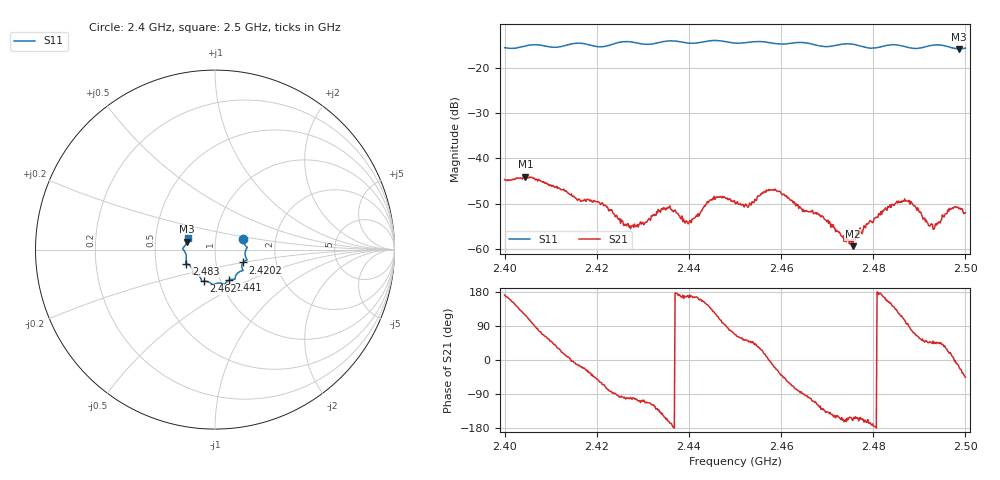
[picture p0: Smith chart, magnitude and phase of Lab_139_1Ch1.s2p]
# Hz S RI R 50
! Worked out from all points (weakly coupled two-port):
!   601 points, 2.4 GHz to 2.5 GHz, reference 50 ohm
!   highest |S21| = -44.05 dB at 2.4045 GHz (marker M1); lowest = -59.4 dB at 2.4755 GHz (marker M2)
!   lowest |S11| = -15.8 dB at 2.4987 GHz (marker M3), VSWR 1.39, Z = 36.4 + j3.26 ohm
!   |S11| at or under -10 dB: start of sweep to end of sweep
!   S12 and S22 are empty: the file has one direction only
!   S11 on the Smith chart (normalised r, x): 2.4 GHz: 1.36, +0.17; 2.4202 GHz: 1.35, -0.20; 2.441 GHz: 1.10, -0.39; 2.462 GHz: 0.83, -0.30; 2.483 GHz: 0.72, -0.12; 2.5 GHz: 0.73, +0.09
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2.4e9  0.1561 0.0603  -0.00577 0.00083  0 0  0 0
2.4045e9  0.1739 0.0174  -0.00296 0.00553  0 0  0 0
2.416667e9  0.1774 -0.0584  0.00319 -0.00112  0 0  0 0
2.420167e9  0.156 -0.0717  0.00207 -0.0026  0 0  0 0
2.4275e9  0.1539 -0.1172  -0.000367 -0.00174  0 0  0 0
2.433333e9  0.113 -0.1523  -0.00186 -0.00199  0 0  0 0
2.435667e9  0.1112 -0.1647  -0.00273 -0.000876  0 0  0 0
2.4395e9  0.0911 -0.1654  -0.00199 0.000476  0 0  0 0
2.441e9  0.0769 -0.1706  -0.00209 0.000566  0 0  0 0
2.445667e9  0.0525 -0.1938  -0.00189 0.00298  0 0  0 0
2.45e9  0.0267 -0.1863  0.00125 0.00298  0 0  0 0
2.453e9  -0.000221 -0.1918  0.00201 0.00219  0 0  0 0
2.458167e9  -0.0265 -0.1856  0.00434 -0.000944  0 0  0 0
2.462e9  -0.0618 -0.1761  0.00156 -0.00307  0 0  0 0
2.466667e9  -0.0766 -0.1668  -0.000772 -0.00253  0 0  0 0
2.4755e9  -0.1253 -0.133  -0.00101 -0.000367  0 0  0 0
2.483e9  -0.1593 -0.078  -0.00242 0.00111  0 0  0 0
2.483333e9  -0.161 -0.0772  -0.00256 0.00136  0 0  0 0
2.487333e9  -0.1599 -0.0558  -0.00034 0.00338  0 0  0 0
2.492833e9  -0.1779 0.0024  0.00134 0.00129  0 0  0 0
2.498667e9  -0.1558 0.0437  0.0026 -0.000954  0 0  0 0
2.5e9  -0.153 0.0625  0.00175 -0.0018  0 0  0 0
